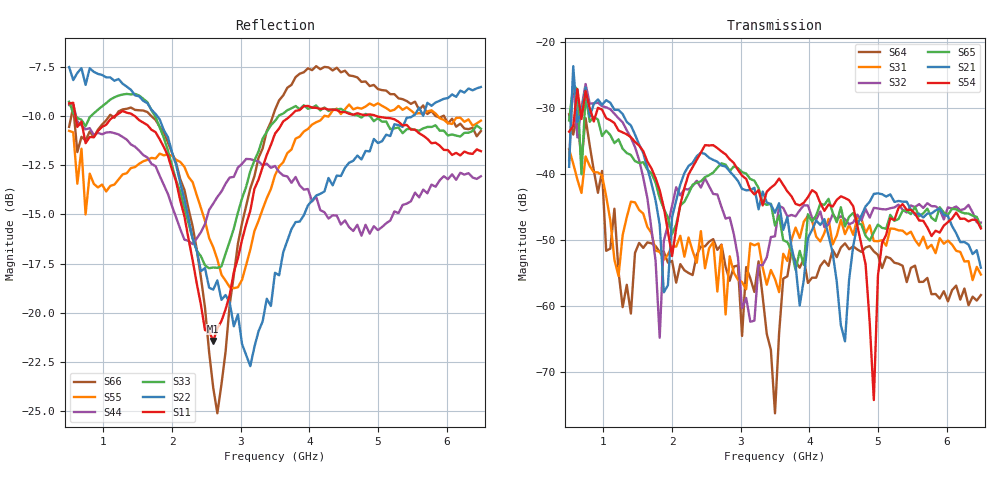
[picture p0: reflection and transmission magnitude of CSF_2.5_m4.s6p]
!Keysight Technologies,M9804A,MY58100912,A.14.10.03
!Date: Thursday, April 27, 2023 10:28:33
!Correction: S11(C  6-Port  )
!S12(C  6-Port  )
!S13(C  6-Port  )
!S14(C  6-Port  )
!S15(C  6-Port  )
!S16(C  6-Port  )
!S21(C  6-Port  )
!S22(C  6-Port  )
!S23(C  6-Port  )
!S24(C  6-Port  )
!S25(C  6-Port  )
!S26(C  6-Port  )
!S31(C  6-Port  )
!S32(C  6-Port  )
!S33(C  6-Port  )
!S34(C  6-Port  )
!S35(C  6-Port  )
!S36(C  6-Port  )
!S41(C  6-Port  )
!S42(C  6-Port  )
!S43(C  6-Port  )
!S44(C  6-Port  )
!S45(C  6-Port  )
!S46(C  6-Port  )
!S51(C  6-Port  )
!S52(C  6-Port  )
!S53(C  6-Port  )
!S54(C  6-Port  )
!S55(C  6-Port  )
!S56(C  6-Port  )
!S61(C  6-Port  )
!S62(C  6-Port  )
!S63(C  6-Port  )
!S64(C  6-Port  )
!S65(C  6-Port  )
!S66(C  6-Port  )
!S6P File: Measurement: :
# Hz S  RI  R 50
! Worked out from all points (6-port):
!   101 points, 500 MHz to 6.5 GHz, reference 50 ohm
!   strongest paths, dB at 500 MHz, 2 GHz, 3.5 GHz, 5 GHz, 6.5 GHz:
!     S54: -33.5, -52.4, -41.5, -55.3, -48.2
!     S21: -38.9, -46.5, -45.8, -42.9, -54.1
!     S65: -31.8, -49.1, -47.8, -47.6, -47.9
!     S32: -37.8, -44.8, -49.4, -45.2, -47.3
!     S31: -36.2, -50.9, -55.9, -50.1, -55.2
!     S64: -30.9, -53.1, -76.2, -52.2, -58.3
!   lowest |S11| = -21.4 dB at 2.6 GHz (marker M1), VSWR 1.19, Z = 42.5 + j2.26 ohm
!   |S11| at or under -10 dB: 593.7 MHz to 1.157 GHz (563.5 MHz wide, 64.4 % of centre); 1.462 GHz to 3.715 GHz (2.253 GHz wide, 87 % of centre); 4.989 GHz to end of sweep
